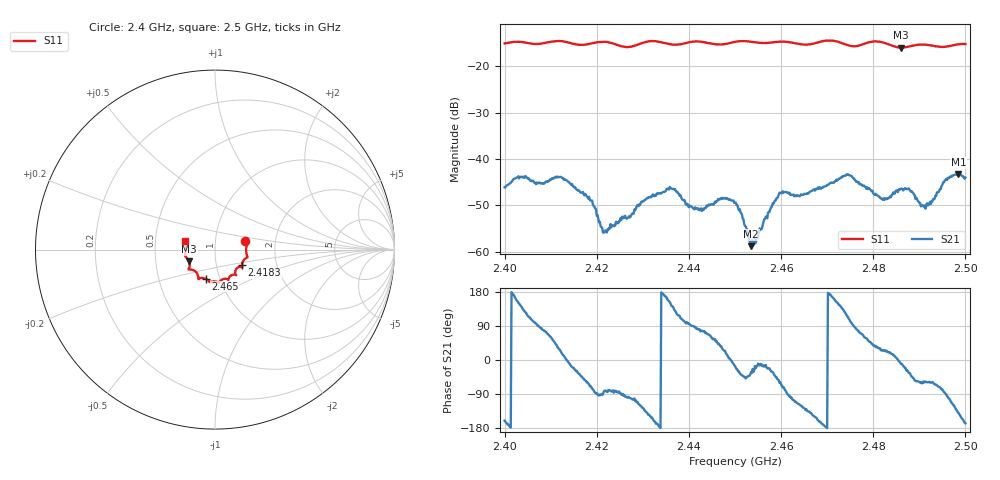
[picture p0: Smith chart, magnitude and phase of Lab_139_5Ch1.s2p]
# Hz S RI R 50
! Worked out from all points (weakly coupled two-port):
!   601 points, 2.4 GHz to 2.5 GHz, reference 50 ohm
!   highest |S21| = -43.29 dB at 2.4985 GHz (marker M1); lowest = -58.8 dB at 2.4535 GHz (marker M2)
!   lowest |S11| = -16.0 dB at 2.486 GHz (marker M3), VSWR 1.38, Z = 37.1 - j4.96 ohm
!   |S11| at or under -10 dB: start of sweep to end of sweep
!   S12 and S22 are empty: the file has one direction only
!   S11 on the Smith chart (normalised r, x): 2.4 GHz: 1.40, +0.13; 2.4183 GHz: 1.33, -0.24; 2.465 GHz: 0.86, -0.29; 2.5 GHz: 0.71, +0.07
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2.4e9  0.169 0.046  -0.00465 -0.00169  0 0  0 0
2.403e9  0.1799 0.0327  -0.00569 0.00316  0 0  0 0
2.411667e9  0.1818 -0.0415  0.00546 0.00332  0 0  0 0
2.416667e9  0.155 -0.0681  0.00316 -0.00296  0 0  0 0
2.418333e9  0.1502 -0.0866  0.00172 -0.00351  0 0  0 0
2.421833e9  0.1526 -0.1  0.000274 -0.00167  0 0  0 0
2.433333e9  0.1168 -0.1412  -0.00418 -0.000603  0 0  0 0
2.436333e9  0.0962 -0.1412  -0.00374 0.00296  0 0  0 0
2.442333e9  0.0734 -0.1685  0.00045 0.00276  0 0  0 0
2.447333e9  0.0404 -0.1664  0.00328 0.00175  0 0  0 0
2.45e9  0.0252 -0.1806  0.00324 -0.00094  0 0  0 0
2.4535e9  0.0167 -0.1823  0.000978 -0.000603  0 0  0 0
2.459833e9  -0.0273 -0.1813  0.00221 -0.0037  0 0  0 0
2.465e9  -0.0528 -0.1621  -0.00253 -0.00335  0 0  0 0
2.466667e9  -0.0712 -0.1577  -0.00357 -0.00274  0 0  0 0
2.474667e9  -0.0991 -0.1342  -0.00217 0.00633  0 0  0 0
2.483333e9  -0.142 -0.096  0.00354 0.00137  0 0  0 0
2.486e9  -0.1439 -0.0651  0.00471 -0.000829  0 0  0 0
2.4915e9  -0.1669 -0.0309  0.00165 -0.00269  0 0  0 0
2.495667e9  -0.1612 0.0127  0.000124 -0.00593  0 0  0 0
2.4985e9  -0.1673 0.0394  -0.00518 -0.00448  0 0  0 0
2.5e9  -0.1666 0.0472  -0.00614 -0.00142  0 0  0 0
